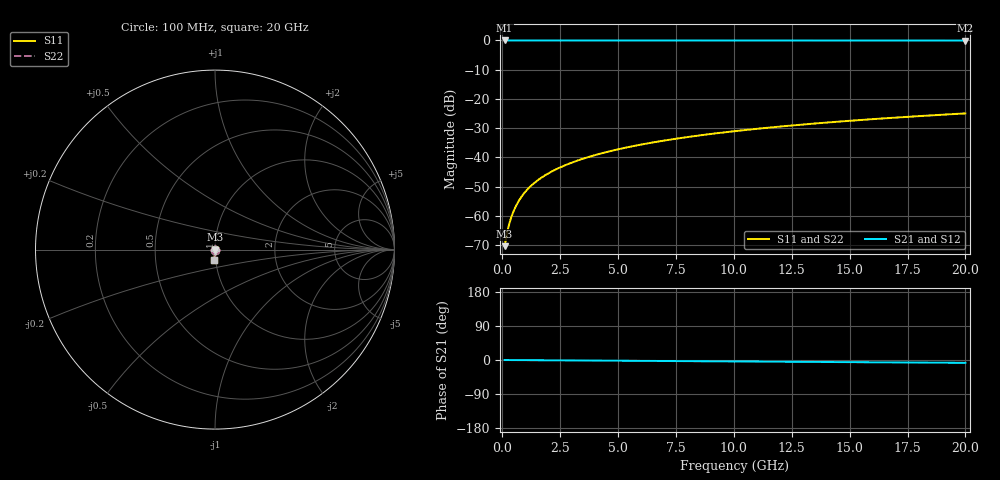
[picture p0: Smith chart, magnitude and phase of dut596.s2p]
! Touchstone file exported from HFSS 2026.1.0
!  File:  C:/ffzhzh/LocalFiles/Ansys_Project_Files/temp_train_TSV_596_1783025387_46388.aedt
!  Generated:  04:51:23 AM Jul  3, 2026
!  Design:  TSV
!  Project:  temp_train_TSV_596_1783025387_46388
! Variables:
!  h_bsmrdl = 2um
!  h_ox = 20um
!  h_rdl = 5um
!  h_sub = 73.3um
!  h_tmrdl = 5um
!  h_tsv = 73.3um
!  h_via = 3um
!  l_bsmrdl = 300um
!  l_sub = 414.68um
!  l_tmrdl = 200um
!  m_sub = 200um
!  pitch = 20.29um
!  r_tsv = 7.34um
!  s_tmrdl = 10um
!  w_bsmrdl = 18um
!  w_sub = 500um
!  w_tmrdl = 12um
!  x_tsv_center1 = 206um
!  x_tsv_center2 = 524um
!  x_tsv_center3 = 736um
!  x_tsv_center4 = 1054um
!  x_tsv_center5 = 1266um
!  x_tsv_center6 = 1584um
# GHz S MA R 50.000000
! Terminal data exported
! Port[1] = TSV1_1_T1
! Port[2] = TSV1_1_T2
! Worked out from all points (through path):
!   200 points, 100 MHz to 20 GHz, reference 50 ohm
!   highest |S21| = 0.00 dB at 100 MHz (marker M1); lowest = 0.0 dB at 20 GHz (marker M2)
!   group delay of S21, straight-line fit = 1.04 ps
!   lowest |S11| = -70.4 dB at 100 MHz (marker M3), VSWR 1.00, Z = 50 - j0.0219 ohm
!   |S11| at or under -10 dB: start of sweep to end of sweep
!   |S22| runs from -70.4 to -25.0 dB; largest |S21 - S12| = 3.2e-15
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0.1  0.0003017 -46.4  0.9998 -0.0  0.9998 -0.0  0.0003017 -46.4
! Gamma 0 0 0 0
! Port Impedance 50 0 50 0
0.2  0.0005001 -62.6  0.9998 -0.1  0.9998 -0.1  0.0005001 -62.6
0.3  0.0007289 -69.0  0.9997 -0.1  0.9997 -0.1  0.0007289 -69.0
0.4  0.0009745 -72.4  0.9997 -0.2  0.9997 -0.2  0.0009745 -72.4
0.5  0.001231 -74.6  0.9997 -0.2  0.9997 -0.2  0.001231 -74.6
0.7  0.001765 -77.4  0.9996 -0.3  0.9996 -0.3  0.001765 -77.4
0.8  0.002037 -78.5  0.9996 -0.3  0.9996 -0.3  0.002037 -78.5
1  0.002585 -80.2  0.9995 -0.4  0.9995 -0.4  0.002585 -80.2
1.2  0.003136 -81.5  0.9995 -0.5  0.9995 -0.5  0.003136 -81.5
1.4  0.003687 -82.5  0.9995 -0.5  0.9995 -0.5  0.003687 -82.5
1.7  0.004514 -83.6  0.9994 -0.7  0.9994 -0.7  0.004514 -83.6
2  0.005342 -84.5  0.9994 -0.8  0.9994 -0.8  0.005342 -84.5
2.7  0.007277 -85.8  0.9993 -1.0  0.9993 -1.0  0.007277 -85.8
3.5  0.009503 -86.8  0.9992 -1.3  0.9992 -1.3  0.009503 -86.8
4.2  0.01146 -87.5  0.9991 -1.6  0.9991 -1.6  0.01146 -87.5
5  0.01371 -88.1  0.999 -1.9  0.999 -1.9  0.01371 -88.1
6.8  0.01881 -89.3  0.9987 -2.6  0.9987 -2.6  0.01881 -89.3
8.3  0.02308 -90.2  0.9985 -3.1  0.9985 -3.1  0.02308 -90.2
10.1  0.02821 -91.1  0.9983 -3.8  0.9983 -3.8  0.02821 -91.1
13.4  0.03762 -92.8  0.9978 -5.1  0.9978 -5.1  0.03762 -92.8
16.7  0.04703 -94.2  0.9972 -6.3  0.9972 -6.3  0.04703 -94.2
20  0.05644 -95.6  0.9965 -7.5  0.9965 -7.5  0.05644 -95.6
